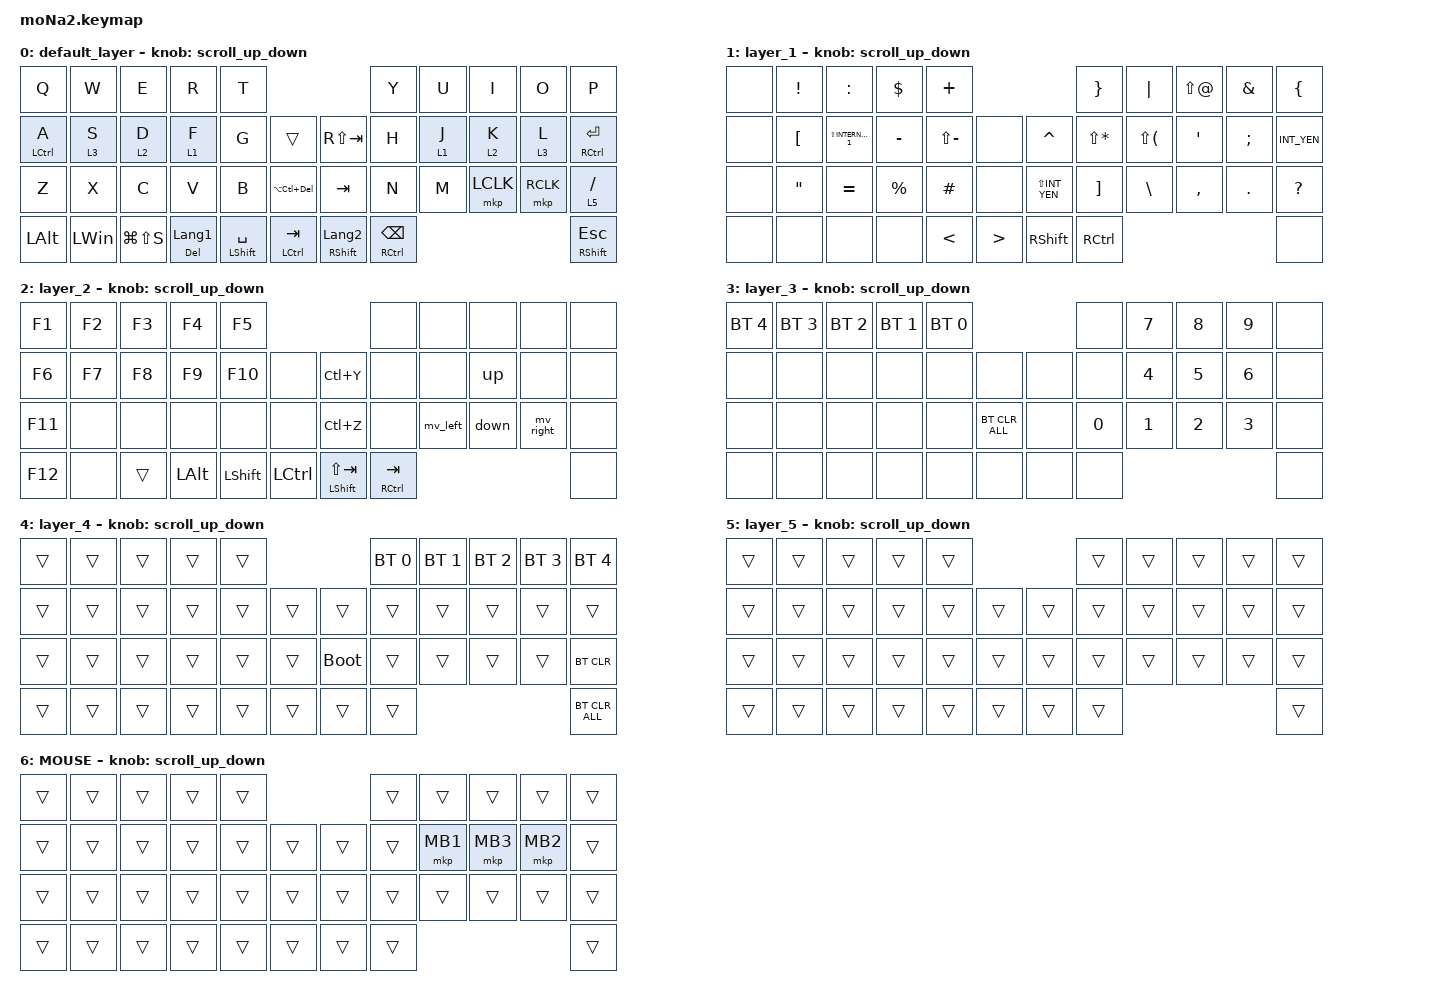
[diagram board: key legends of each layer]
#include <behaviors.dtsi>
#include <dt-bindings/zmk/bt.h>
#include <dt-bindings/zmk/keys.h>
#include <dt-bindings/zmk/pointing.h>
#include <dt-bindings/zmk/pointing.h>

#define ZMK_POINTING_DEFAULT_SCRL_VAL 100
#define MOUSE 6

&mt {
    flavor = "balanced";
    quick-tap-ms = <0>;
};

/ {
    combos {
        compatible = "zmk,combos";

        tab {
            bindings = <&kp TAB>;
            key-positions = <11 12>;
            layers = <0>;
        };

        s_tab {
            bindings = <&kp LS(TAB)>;
            key-positions = <10 11>;
        };
    };

    macros {
        to_layer_0: to_layer_0 {
            compatible = "zmk,behavior-macro-one-param";
            #binding-cells = <1>;
            bindings = <&to 0 &macro_param_1to1 &kp MACRO_PLACEHOLDER>;
            label = "TO_LAYER_0";
        };

        left5: left4 {
            compatible = "zmk,behavior-macro";
            #binding-cells = <0>;
            bindings = <&kp LEFT &kp LEFT &kp LEFT &kp LEFT &kp LEFT>;
            label = "LEFT4";
        };

        right5: right4 {
            compatible = "zmk,behavior-macro";
            #binding-cells = <0>;
            bindings = <&kp RIGHT &kp RIGHT &kp RIGHT &kp RIGHT &kp RIGHT>;
            label = "RIGHT4";
        };

        up5: up5 {
            compatible = "zmk,behavior-macro";
            #binding-cells = <0>;
            bindings = <&kp UP_ARROW &kp UP_ARROW &kp UP_ARROW &kp UP_ARROW &kp UP_ARROW>;
            label = "UP5";
        };

        down5: down5 {
            compatible = "zmk,behavior-macro";
            #binding-cells = <0>;
            bindings = <&kp DOWN &kp DOWN &kp DOWN &kp DOWN &kp DOWN>;
            label = "DOWN5";
        };
    };

    behaviors {
        lt_to_layer_0: lt_to_layer_0 {
            compatible = "zmk,behavior-hold-tap";
            label = "LAYER_TAP_TO_0";
            bindings = <&mo>, <&to_layer_0>;

            #binding-cells = <2>;
            tapping-term-ms = <200>;
        };

        scroll_up_down: behavior_sensor_rotate_mouse_wheel_up_down {
            compatible = "zmk,behavior-sensor-rotate";
            #sensor-binding-cells = <0>;
            bindings = <&msc SCRL_UP>, <&msc SCRL_DOWN>;

            tap-ms = <20>;
        };

        mv_left: mv_left {
            compatible = "zmk,behavior-tap-dance";
            label = "MV_LEFT";
            #binding-cells = <0>;
            bindings = <&kp LEFT>, <&left5>, <&kp HOME>;
        };

        mv_right: mv_right {
            compatible = "zmk,behavior-tap-dance";
            label = "MV_RIGHT";
            #binding-cells = <0>;
            bindings = <&kp RIGHT>, <&right5>, <&kp END>;
        };

        up: up {
            compatible = "zmk,behavior-tap-dance";
            label = "UP";
            #binding-cells = <0>;
            bindings = <&kp UP_ARROW>, <&up5>, <&kp PAGE_UP>;
        };

        down: down {
            compatible = "zmk,behavior-tap-dance";
            label = "DOWN";
            #binding-cells = <0>;
            bindings = <&kp DOWN_ARROW>, <&down5>, <&kp PAGE_DOWN>;
        };
    };

    keymap {
        compatible = "zmk,keymap";

        default_layer {
            bindings = <
&kp Q         &kp W         &kp E          &kp R                  &kp T                                                                   &kp Y                &kp U    &kp I      &kp O      &kp P
&mt LCTRL A   &lt 3 S       &lt 2 D        &lt 1 F                &kp G                 &trans                &kp RS(TAB)                 &kp H                &lt 1 J  &lt 2 K    &lt 3 L    &mt RCTRL ENTER
&kp Z         &kp X         &kp C          &kp V                  &kp B                 &kp LA(LC(DELETE))    &kp TAB                     &kp N                &kp M    &mkp LCLK  &mkp RCLK  &lt 5 SLASH
&kp LEFT_ALT  &kp LEFT_WIN  &kp LG(LS(S))  &mt DELETE LANGUAGE_1  &mt LEFT_SHIFT SPACE  &mt LCTRL TAB         &mt RIGHT_SHIFT LANGUAGE_2  &mt RCTRL BACKSPACE                                 &mt RIGHT_SHIFT ESCAPE
            >;

            sensor-bindings = <&scroll_up_down>;
        };

        layer_1 {
            bindings = <
&none  &kp EXCLAMATION    &kp COLON                &kp DOLLAR   &kp PLUS                                            &kp RIGHT_BRACE   &kp PIPE                  &kp LS(AT_SIGN)   &kp AMPERSAND  &kp LEFT_BRACE
&none  &kp LEFT_BRACKET   &kp LS(INTERNATIONAL_1)  &kp MINUS    &kp LS(MINUS)  &none               &kp CARET        &kp LS(ASTERISK)  &kp LS(LEFT_PARENTHESIS)  &kp SINGLE_QUOTE  &kp SEMICOLON  &kp INT_YEN
&none  &kp DOUBLE_QUOTES  &kp EQUAL                &kp PERCENT  &kp HASH       &none               &kp LS(INT_YEN)  &kp RBKT          &kp BACKSLASH             &kp COMMA         &kp PERIOD     &kp QUESTION
&none  &none              &none                    &none        &kp LESS_THAN  &kp GREATER_THAN    &kp RIGHT_SHIFT  &kp RCTRL                                                                    &none
            >;

            sensor-bindings = <&scroll_up_down>;
        };

        layer_2 {
            bindings = <
&kp F1   &kp F2  &kp F3  &kp F4        &kp F5                                               &none          &none     &none  &none      &none
&kp F6   &kp F7  &kp F8  &kp F9        &kp F10         &none        &kp LC(Y)               &none          &none     &up    &none      &none
&kp F11  &none   &none   &none         &none           &none        &kp LC(Z)               &none          &mv_left  &down  &mv_right  &none
&kp F12  &none   &trans  &kp LEFT_ALT  &kp LEFT_SHIFT  &kp LCTRL    &mt LEFT_SHIFT LS(TAB)  &mt RCTRL TAB                              &none
            >;

            sensor-bindings = <&scroll_up_down>;
        };

        layer_3 {
            bindings = <
&bt BT_SEL 4  &bt BT_SEL 3  &bt BT_SEL 2  &bt BT_SEL 1  &bt BT_SEL 0                           &none         &kp NUMBER_7  &kp NUMBER_8  &kp NUMBER_9  &none
&none         &none         &none         &none         &none         &none             &none  &none         &kp NUMBER_4  &kp NUMBER_5  &kp NUMBER_6  &none
&none         &none         &none         &none         &none         &bt BT_CLR_ALL    &none  &kp NUMBER_0  &kp NUMBER_1  &kp NUMBER_2  &kp NUMBER_3  &none
&none         &none         &none         &none         &none         &none             &none  &none                                                   &none
            >;

            sensor-bindings = <&scroll_up_down>;
        };

        layer_4 {
            bindings = <
&trans  &trans  &trans  &trans  &trans                         &bt BT_SEL 0  &bt BT_SEL 1  &bt BT_SEL 2  &bt BT_SEL 3  &bt BT_SEL 4
&trans  &trans  &trans  &trans  &trans  &trans    &trans       &trans        &trans        &trans        &trans        &trans
&trans  &trans  &trans  &trans  &trans  &trans    &bootloader  &trans        &trans        &trans        &trans        &bt BT_CLR
&trans  &trans  &trans  &trans  &trans  &trans    &trans       &trans                                                  &bt BT_CLR_ALL
            >;

            sensor-bindings = <&scroll_up_down>;
        };

        layer_5 {
            bindings = <
&trans  &trans  &trans  &trans  &trans                    &trans  &trans  &trans  &trans  &trans
&trans  &trans  &trans  &trans  &trans  &trans    &trans  &trans  &trans  &trans  &trans  &trans
&trans  &trans  &trans  &trans  &trans  &trans    &trans  &trans  &trans  &trans  &trans  &trans
&trans  &trans  &trans  &trans  &trans  &trans    &trans  &trans                          &trans
            >;

            sensor-bindings = <&scroll_up_down>;
        };

        MOUSE {
            bindings = <
&trans  &trans  &trans  &trans  &trans                    &trans  &trans    &trans    &trans    &trans
&trans  &trans  &trans  &trans  &trans  &trans    &trans  &trans  &mkp MB1  &mkp MB3  &mkp MB2  &trans
&trans  &trans  &trans  &trans  &trans  &trans    &trans  &trans  &trans    &trans    &trans    &trans
&trans  &trans  &trans  &trans  &trans  &trans    &trans  &trans                                &trans
            >;

            sensor-bindings = <&scroll_up_down>;
        };
    };
};
